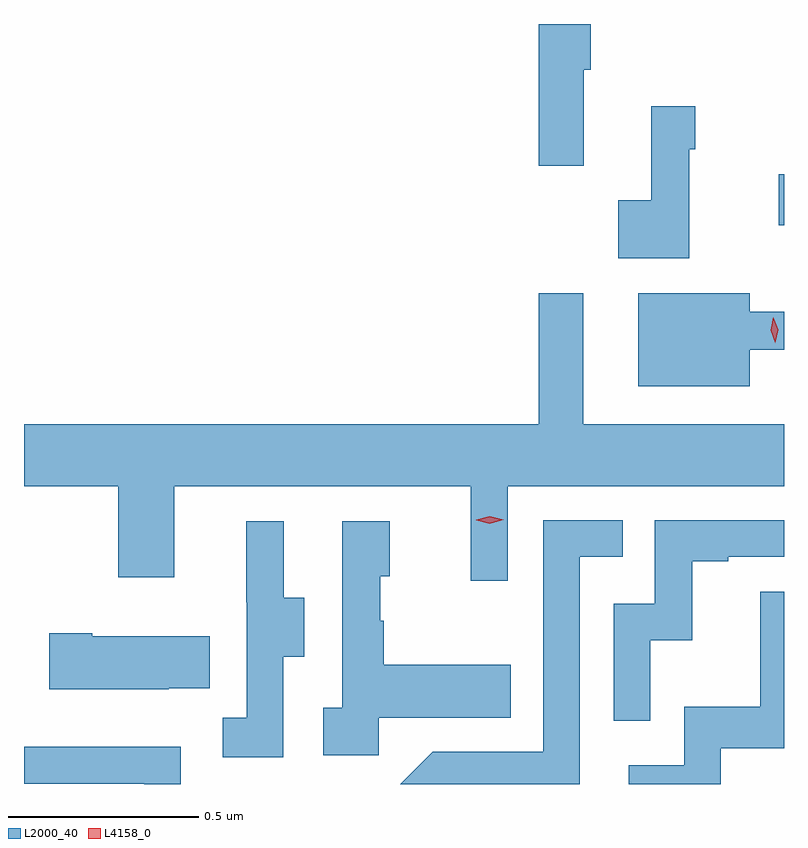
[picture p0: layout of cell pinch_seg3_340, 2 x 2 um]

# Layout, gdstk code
import gdstk
lib = gdstk.Library(unit=1e-6, precision=1e-09)
def R(c, l, rs):  # rectangles x0, y0, x1, y1
    for r in rs: c.add(gdstk.rectangle(r[:2], r[2:], *l))
def P(c, l, *ps):  # polygons
    for p in ps: c.add(gdstk.Polygon(p, *l))
L2000_40 = (2000, 40)
L4158_0 = (4158, 0)

pinch_seg3_340 = lib.new_cell('pinch_seg3_340')
R(pinch_seg3_340, L2000_40, [(972.536,724.247,972.55,724.382)])
P(pinch_seg3_340, L2000_40, [(972.023,724.656),(972.041,724.656),(972.041,724.777),(971.905,724.777),(971.905,724.404),(972.023,724.404)],
  [(972.3,724.448),(972.317,724.448),(972.317,724.561),(972.2,724.561),(972.2,724.313),(972.114,724.313),(972.114,724.16),(972.3,724.16)],
  [(971.823,723.56),(972.55,723.56),(972.55,723.724),(972.022,723.724),(972.022,724.069),(971.905,724.069),(971.905,723.724),(970.55,723.724),(970.55,723.56),(970.798,723.56),(970.798,723.321),(970.945,723.321),(970.945,723.56),(971.726,723.56),(971.726,723.312),(971.823,723.312)],
  [(972.46,723.92),(972.55,723.92),(972.55,724.02),(972.46,724.02),(972.46,724.069),(972.167,724.069),(972.167,723.824),(972.46,723.824)],
  [(972.198,723.155),(972.308,723.155),(972.308,723.363),(972.403,723.363),(972.403,723.375),(972.55,723.375),(972.55,723.471),(972.21,723.471),(972.21,723.252),(972.102,723.252),(972.102,722.943),(972.198,722.943)],
  [(972.012,723.375),(972.125,723.375),(972.125,723.471),(971.916,723.471),(971.916,722.862),(971.625,722.862),(971.54,722.777),(972.012,722.777)],
  [(971.232,723.112),(971.287,723.112),(971.287,723.267),(971.233,723.267),(971.233,723.469),(971.135,723.469),(971.135,723.255),(971.136,723.255),(971.136,722.951),(971.073,722.951),(971.073,722.848),(971.232,722.848)],
  [(971.484,722.951),(971.831,722.951),(971.831,723.091),(971.497,723.091),(971.497,723.206),(971.487,723.206),(971.487,723.324),(971.512,723.324),(971.512,723.469),(971.388,723.469),(971.388,722.978),(971.337,722.978),(971.337,722.853),(971.484,722.853)],
  [(972.384,722.871),(972.55,722.871),(972.55,723.283),(972.487,723.283),(972.487,722.98),(972.288,722.98),(972.288,722.826),(972.141,722.826),(972.141,722.777),(972.384,722.777)],
  [(970.931,723.029),(971.039,723.029),(971.039,723.166),(970.729,723.166),(970.729,723.174),(970.617,723.174),(970.617,723.026),(970.931,723.026)],
  [(970.962,722.875),(970.55,722.875),(970.55,722.778),(970.866,722.778),(970.866,722.777),(970.962,722.777)])
P(pinch_seg3_340, L4158_0, [(972.527,723.938),(972.527,723.938),(972.515,723.971),(972.522,724.005),(972.522,724.005),(972.522,724.005),(972.535,723.972),(972.527,723.938)],
  [(971.776,723.462),(971.74,723.471),(971.74,723.472),(971.74,723.472),(971.776,723.482),(971.812,723.473),(971.812,723.473),(971.812,723.473)])

lib.write_gds('pinch_seg3_340.gds')
